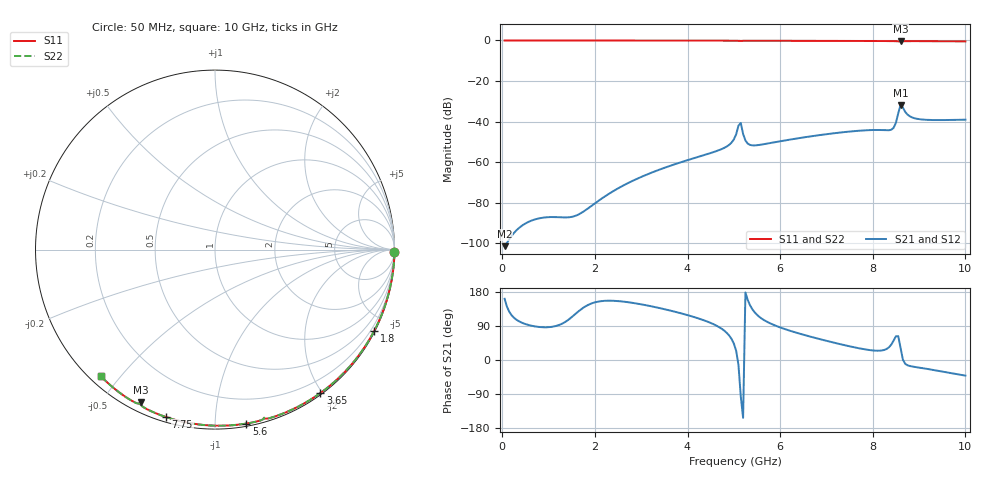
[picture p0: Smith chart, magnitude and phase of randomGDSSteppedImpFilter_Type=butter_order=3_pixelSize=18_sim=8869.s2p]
! freq	dB(S11)	phase(S11)	dB(S12)	phase(S12)
!  dB(S21)	phase(S21)	dB(S22)	phase(S22)
!S-par simulation data
#  GHz  S  DB  R 50
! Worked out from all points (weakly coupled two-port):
!   200 points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, 50 MHz to 10 GHz, reference 50 ohm
!   highest |S21| = -31.82 dB at 8.6 GHz (marker M1); lowest = -101.4 dB at 50 MHz (marker M2)
!   lowest |S11| = -0.5 dB at 8.6 GHz (marker M3), VSWR 36.42, Z = 1.91 - j31.3 ohm
!   |S11| at or under -10 dB: nowhere
!   |S22| runs from -0.5 to 0.0 dB; largest |S21 - S12| = 0
!   S11 on the Smith chart (normalised r, x): 50 MHz: open; 1.8 GHz: 0.04, -4.15; 3.65 GHz: 0.02, -1.97; 5.6 GHz: 0.02, -1.20; 7.75 GHz: 0.02, -0.75; 10 GHz: 0.03, -0.44
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0.05  -0.00 -0.8  -101.36 161.5  -101.36 161.5  -0.00 -0.8
1.75  -0.03 -26.4  -84.35 138.0  -84.35 138.0  -0.03 -26.4
1.8  -0.03 -27.1  -83.58 141.8  -83.58 141.8  -0.03 -27.1
2  -0.04 -30.1  -80.27 152.1  -80.27 152.1  -0.04 -30.0
3.4  -0.07 -50.2  -63.59 136.9  -63.59 136.9  -0.07 -50.2
3.65  -0.07 -53.7  -61.56 129.7  -61.56 129.7  -0.07 -53.7
4.8  -0.10 -69.4  -52.85 76.8  -52.85 76.8  -0.10 -69.4
4.95  -0.11 -71.5  -50.34 55.6  -50.34 55.6  -0.11 -71.4
5.05  -0.13 -72.9  -46.23 24.4  -46.23 24.4  -0.13 -72.9
5.1  -0.17 -73.7  -41.94 -13.1  -41.94 -13.1  -0.17 -73.7
5.15  -0.21 -73.7  -40.67 -96.8  -40.67 -96.8  -0.21 -73.7
5.2  -0.15 -74.3  -46.05 -152.7  -46.05 -152.7  -0.15 -74.3
5.3  -0.13 -75.8  -50.82 158.4  -50.82 158.4  -0.13 -75.7
5.6  -0.13 -79.7  -51.30 109.3  -51.30 109.3  -0.13 -79.7
6.7  -0.18 -93.6  -47.11 60.1  -47.11 60.1  -0.18 -93.6
7.75  -0.25 -106.3  -44.41 29.9  -44.41 29.9  -0.25 -106.3
8.35  -0.30 -113.5  -44.23 33.5  -44.23 33.5  -0.30 -113.5
8.45  -0.33 -114.9  -43.03 51.3  -43.03 51.3  -0.33 -114.8
8.6  -0.48 -115.9  -31.82 32.7  -31.82 32.7  -0.48 -115.8
8.75  -0.34 -117.5  -36.52 -14.0  -36.52 -14.0  -0.34 -117.5
8.95  -0.35 -120.0  -38.59 -19.1  -38.59 -19.1  -0.35 -119.9
10  -0.45 -132.0  -39.04 -41.3  -39.04 -41.3  -0.45 -131.9
